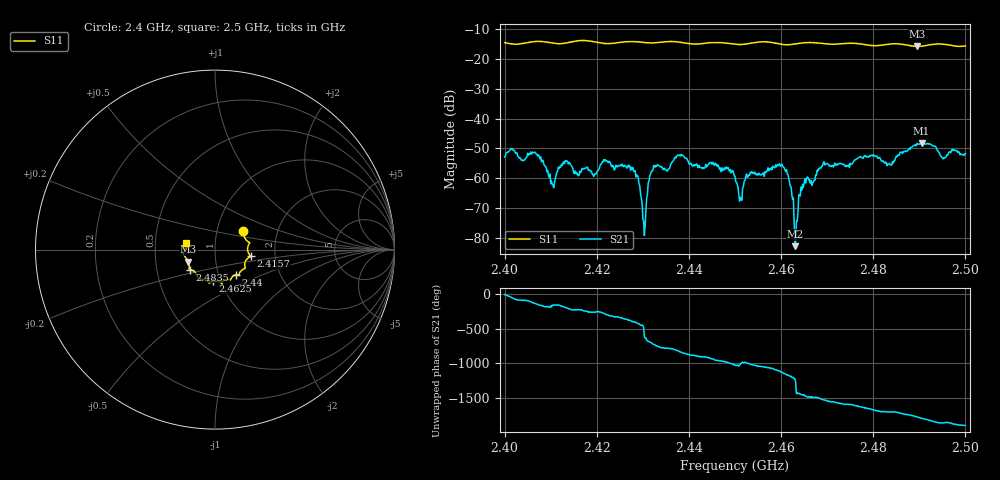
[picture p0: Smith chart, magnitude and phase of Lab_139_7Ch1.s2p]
# Hz S RI R 50
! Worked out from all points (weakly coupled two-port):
!   601 points, 2.4 GHz to 2.5 GHz, reference 50 ohm
!   highest |S21| = -48.27 dB at 2.4905 GHz (marker M1); lowest = -82.9 dB at 2.463 GHz (marker M2)
!   lowest |S11| = -15.7 dB at 2.4895 GHz (marker M3), VSWR 1.39, Z = 36.8 - j5.15 ohm
!   |S11| at or under -10 dB: start of sweep to end of sweep
!   S12 and S22 are empty: the file has one direction only
!   S11 on the Smith chart (normalised r, x): 2.4 GHz: 1.33, +0.29; 2.4157 GHz: 1.49, -0.11; 2.44 GHz: 1.21, -0.35; 2.4625 GHz: 0.92, -0.34; 2.4835 GHz: 0.74, -0.17; 2.5 GHz: 0.72, +0.05
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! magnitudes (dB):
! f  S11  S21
! 2.4 GHz  -14.5  -52.9
! 2.4068 GHz  -14.1  -51.8
! 2.4105 GHz  -14.6  -62.4
! 2.4157 GHz  -13.9  -58.2
! 2.4167 GHz  -13.7  -57.4
! 2.4273 GHz  -14.1  -57.4
! 2.4303 GHz  -14.4  -79.3
! 2.4317 GHz  -14.6  -58.7
! 2.4333 GHz  -14.4  -55.7
! 2.44 GHz  -14.8  -55.2
! 2.45 GHz  -15.0  -59.4
! 2.4513 GHz  -15.1  -66.6
! 2.46 GHz  -15.0  -55.8
! 2.4625 GHz  -15.0  -67.1
! 2.463 GHz  -14.9  -82.9
! 2.4648 GHz  -14.6  -63.1
! 2.4667 GHz  -14.4  -62.4
! 2.4833 GHz  -15.0  -55.2
! 2.4835 GHz  -15.0  -55.1
! 2.4895 GHz  -15.7  -48.3
! 2.4905 GHz  -15.7  -48.3
! 2.5 GHz  -15.6  -51.8
